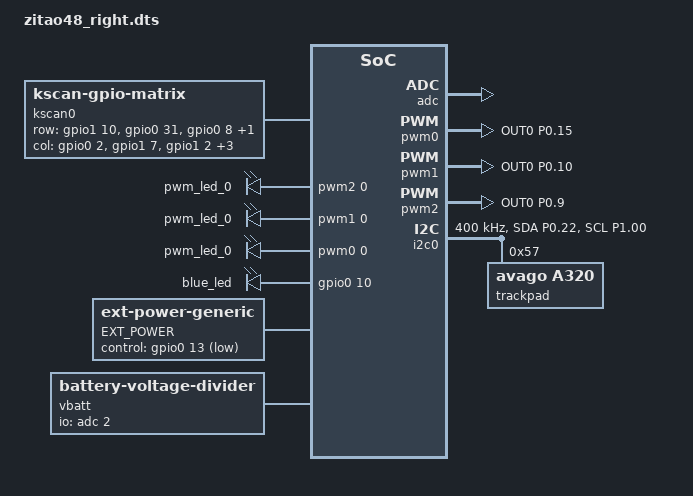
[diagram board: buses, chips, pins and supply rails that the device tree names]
/*
*
* Copyright (c) 2021 Darryl deHaan
* SPDX-License-Identifier: MIT
*
*/

#include "zitao48.dtsi"

/ {
    chosen {
        zmk,keyboard_middlebacklight = &keyboard_middlebacklight;
        zmk,indicator_tp = &indicator_tp;
        zmk,backlight = &backlight;
    };
    kscan0: kscan {
        compatible = "zmk,kscan-gpio-matrix";
        diode-direction = "col2row";
        row-gpios
            = <&gpio1 10 (GPIO_ACTIVE_HIGH | GPIO_PULL_DOWN)>
            , <&gpio0 31  (GPIO_ACTIVE_HIGH | GPIO_PULL_DOWN)>
            , <&gpio0 8 (GPIO_ACTIVE_HIGH | GPIO_PULL_DOWN)>
            , <&gpio1 13  (GPIO_ACTIVE_HIGH | GPIO_PULL_DOWN)>
            ;
        col-gpios
            = <&gpio0 2  GPIO_ACTIVE_HIGH>
            , <&gpio1 7  GPIO_ACTIVE_HIGH>
            , <&gpio1 2  GPIO_ACTIVE_HIGH>
            , <&gpio0 11 GPIO_ACTIVE_HIGH>
            , <&gpio1 11 GPIO_ACTIVE_HIGH>
            , <&gpio0 29 GPIO_ACTIVE_HIGH>
            ;
    };

    keyboard_middlebacklight: pwmledfo{
        compatible = "pwm-leds";
        pwm_led_0 {
            pwms = <&pwm2 0 PWM_USEC(20) PWM_POLARITY_NORMAL>;
        };
    };

    indicator_tp: pwmledo{
        compatible = "pwm-leds";
        pwm_led_0 {
            pwms = <&pwm1 0 PWM_USEC(20) PWM_POLARITY_NORMAL>;
        };
    };

    backlight: pwmleds {
        compatible = "pwm-leds";
        pwm_led_0 {
            pwms = <&pwm0 0 PWM_MSEC(10) PWM_POLARITY_NORMAL>;
        };
    };
    
    leds {
        compatible = "gpio-leds";
        blue_led: led_0 {
            gpios = <&gpio0 10 GPIO_ACTIVE_HIGH>;
        };
    };
        EXT_POWER {
        compatible = "zmk,ext-power-generic";
        control-gpios = <&gpio0 13 GPIO_ACTIVE_LOW>;
    };

    vbatt: vbatt {
        compatible = "zmk,battery-voltage-divider";
        io-channels = <&adc 2>;
        output-ohms = <2000000>;
        full-ohms = <2820000>;  // 2000000 + 820000
    };
};

&default_transform {
    col-offset = <6>;
};

&adc {
    status = "okay";
};

&gpiote {
    status = "okay";
};

&gpio0 {
    status = "okay";
};

&gpio1 {
    status = "okay";
};

&pwm0 {
    status = "okay";
    pinctrl-0 = <&pwm0_default>;
    pinctrl-1 = <&pwm0_sleep>;
    pinctrl-names = "default", "sleep";
};

&pwm1 {
    status = "okay";
    pinctrl-0 = <&pwm1_default>;
    pinctrl-1 = <&pwm1_sleep>;
    pinctrl-names = "default", "sleep";
};

&pwm2 {
    status = "okay";
    pinctrl-0 = <&pwm2_default>;
    pinctrl-1 = <&pwm2_sleep>;
    pinctrl-names = "default", "sleep";
};


&i2c0 {
    status = "okay";
    compatible = "nordic,nrf-twim";
    clock-frequency = <I2C_BITRATE_FAST>; 
    pinctrl-0 = <&i2c0_default>;
    pinctrl-1 = <&i2c0_sleep>;
    pinctrl-names = "default", "sleep";

    trackpad:a320@57 {
        compatible = "avago,a320";
        reg = <0x57>;
        status = "okay";
    };
};

&trackpad_split {
    device = <&trackpad>;

};



/*
 * Copyright (c) 2025 ZitaoTech
 * SPDX-License-Identifier: MIT
 */

&pinctrl {
    i2c0_default: i2c0_default {
        group1 {
            psels = <NRF_PSEL(TWIM_SDA, 0, 22)>,
                <NRF_PSEL(TWIM_SCL, 1, 00)>;
        };
    };

    i2c0_sleep: i2c0_sleep {
        group1 {
            psels = <NRF_PSEL(TWIM_SDA, 0, 22)>,
                <NRF_PSEL(TWIM_SCL, 1, 00)>;
            low-power-enable;
        };
    };


    pwm0_default:pwm0_default{
        group1{
            psels = <NRF_PSEL(PWM_OUT0, 0, 15)>; // Backlight for backlight.c unreal
        };
    };

    pwm0_sleep: pwm0_sleep {
        group1 {
            psels = <NRF_PSEL(PWM_OUT0, 0, 15)>;
            bias-pull-down;
        };
    };

    pwm1_default:pwm1_default{
        group1{
            psels = <NRF_PSEL(PWM_OUT0, 0, 10)>; // Backlight for Trackpad
        };
    };

    pwm1_sleep: pwm1_sleep {
        group1 {
            psels = <NRF_PSEL(PWM_OUT0, 0, 10)>;
            bias-pull-down;
        };
    };

    pwm2_default: pwm2_default {
        group1 {
            psels = <NRF_PSEL(PWM_OUT0, 0, 9)>; // Backlight for Middle Layerindicator
        };
    };

    pwm2_sleep: pwm2_sleep {
        group1 {
            psels = <NRF_PSEL(PWM_OUT0, 0, 8)>;
            bias-pull-down;
        };
    };
    
};
